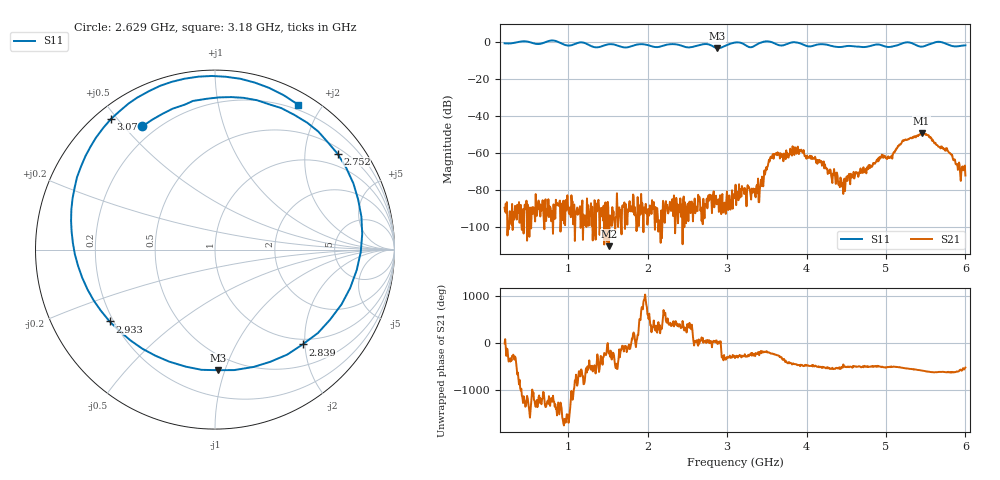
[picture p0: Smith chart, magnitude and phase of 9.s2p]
! NanoVNA-App by OneOfEleven et al v1.1.209 (+OD15)
! Date: 2024-07-30 15:11:46
! Start: 200MHz Stop: 6GHz Points: 801
! S-Parameter data: F S11 S21 S12 S22
# Hz S RI R 50
!  Frequency  S11_Real  S11_Imag  S21_Real  S21_Imag  S12_Real  S12_Imag  S22_Real  S22_Imag
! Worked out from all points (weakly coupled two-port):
!   801 points, 200 MHz to 6 GHz, reference 50 ohm
!   highest |S21| = -49.15 dB at 5.449 GHz (marker M1); lowest = -110.1 dB at 1.512 GHz (marker M2)
!   lowest |S11| = -3.5 dB at 2.875 GHz (marker M3), VSWR 5.10, Z = 19.3 - j47.4 ohm
!   |S11| at or under -10 dB: nowhere
!   S12 and S22 are empty: the file has one direction only
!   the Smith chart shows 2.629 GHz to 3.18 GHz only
!   S11 on the Smith chart (normalised r, x): 2.629 GHz: 0.15, +0.56; 2.752 GHz: 0.64, +2.77; 2.839 GHz: 0.89, -1.95; 2.933 GHz: 0.18, -0.30; 3.071 GHz: 0.04, +0.48; 3.18 GHz: 0.14, +1.72
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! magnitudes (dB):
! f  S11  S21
! 200 MHz  -0.8  -89.4
! 1.171 GHz  -0.3  -90.9
! 1.512 GHz  -1.3  -110.1
! 2.136 GHz  -2.8  -102.3
! 2.629 GHz  -2.0  -91.2
! 2.752 GHz  -1.2  -89.7
! 2.839 GHz  -2.9  -89.2
! 2.875 GHz  -3.5  -87.1
! 2.933 GHz  -3.0  -85.8
! 3.071 GHz  -0.6  -89.9
! 3.1 GHz  -0.4  -83.5
! 3.18 GHz  -0.6  -83.4
! 3.426 GHz  -0.4  -74.3
! 3.55 GHz  0.0  -61.9
! 3.607 GHz  -1.0  -60.3
! 3.883 GHz  -0.4  -58.3
! 4.072 GHz  -2.3  -62.9
! 4.463 GHz  -2.6  -82.0
! 5.036 GHz  -2.8  -62.5
! 5.224 GHz  -0.5  -52.9
! 5.449 GHz  -2.6  -49.1
! 6 GHz  -1.9  -72.0
